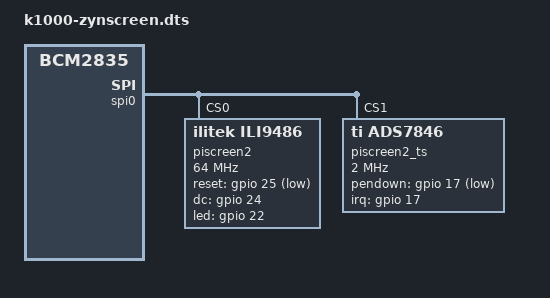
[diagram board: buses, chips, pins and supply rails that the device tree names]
// SPDX-License-Identifier: GPL-2.0
/*
 * k1000-zynscreen — Zynthian V4 "ZynScreen 3.5" on Raspberry Pi OS (trixie, kernel 6.18).
 *
 * PiScreen2R-compatible ILI9486 on SPI0 CE0 (480x320) + ADS7846 resistive touch on CE1.
 * Derived from the stock `piscreen2r` overlay (same pins, same panel init sequence, same GPIO
 * polarities) plus the touch pen IRQ pull-up from zynthian's `ads7846` line (penirq_pull=2).
 *
 * BACKLIGHT (GPIO22): lit when the pin is physically HIGH — proven on the box 2026-10-12 (Thomas
 * saw the test card only after the pin went high). Zynthian's 2020 `piscreen2r-notouch` declared it
 * active-low, which worked only through the old fbtft's polarity inference; on kernel 6.18 that
 * flag keeps the screen DARK. Reset stays active-low (current fbtft gpiod semantics).
 *
 * Build:  dtc -@ -I dts -O dtb -o k1000-zynscreen.dtbo k1000-zynscreen.dts
 * Use:    dtoverlay=k1000-zynscreen,rotate=270
 */
/dts-v1/;
/plugin/;

/ {
	compatible = "brcm,bcm2835";

	fragment@0 {
		target = <&spi0>;
		__overlay__ { status = "okay"; };
	};

	fragment@1 {
		target = <&spidev0>;
		__overlay__ { status = "disabled"; };
	};

	fragment@2 {
		target = <&spidev1>;
		__overlay__ { status = "disabled"; };
	};

	fragment@3 {
		target = <&gpio>;
		__overlay__ {
			piscreen2_pins: piscreen2_pins {
				brcm,pins = <17 25 24 22>;
				brcm,function = <0 1 1 1>;	/* in, out, out, out */
				brcm,pull = <2 0 0 0>;		/* pull-up on the pen IRQ */
			};
		};
	};

	fragment@4 {
		target = <&spi0>;
		__overlay__ {
			#address-cells = <1>;
			#size-cells = <0>;

			piscreen2: piscreen2@0 {
				compatible = "ilitek,ili9486";
				reg = <0>;
				pinctrl-names = "default";
				pinctrl-0 = <&piscreen2_pins>;
				bgr;
				spi-max-frequency = <64000000>;
				rotate = <90>;
				fps = <30>;
				buswidth = <8>;
				regwidth = <16>;
				txbuflen = <32768>;
				reset-gpios = <&gpio 25 1>;
				dc-gpios = <&gpio 24 0>;
				led-gpios = <&gpio 22 0>;	/* lit when HIGH (proven 2026-10-12) */
				debug = <0>;
				init = <0x10000b0 0x00
					0x1000011 0x20000ff
					0x100003a 0x55
					0x1000036 0x28
					0x10000c0 0x11 0x09
					0x10000c1 0x41
					0x10000c5 0x00 0x00 0x00 0x00
					0x10000b6 0x00 0x02
					0x10000f7 0xa9 0x51 0x2c 0x02
					0x10000be 0x00 0x04
					0x10000e9 0x00
					0x1000011 0x1000029>;
			};

			piscreen2_ts: piscreen2-ts@1 {
				compatible = "ti,ads7846";
				reg = <1>;
				spi-max-frequency = <2000000>;
				interrupts = <17 2>;
				interrupt-parent = <&gpio>;
				pendown-gpio = <&gpio 17 1>;
				ti,swap-xy;
				ti,x-plate-ohms = /bits/ 16 <100>;
				ti,pressure-max = /bits/ 16 <255>;
			};
		};
	};

	__overrides__ {
		speed  = <&piscreen2>, "spi-max-frequency:0";
		rotate = <&piscreen2>, "rotate:0";
		fps    = <&piscreen2>, "fps:0";
		debug  = <&piscreen2>, "debug:0";
		xohms  = <&piscreen2_ts>, "ti,x-plate-ohms;0";
	};
};
